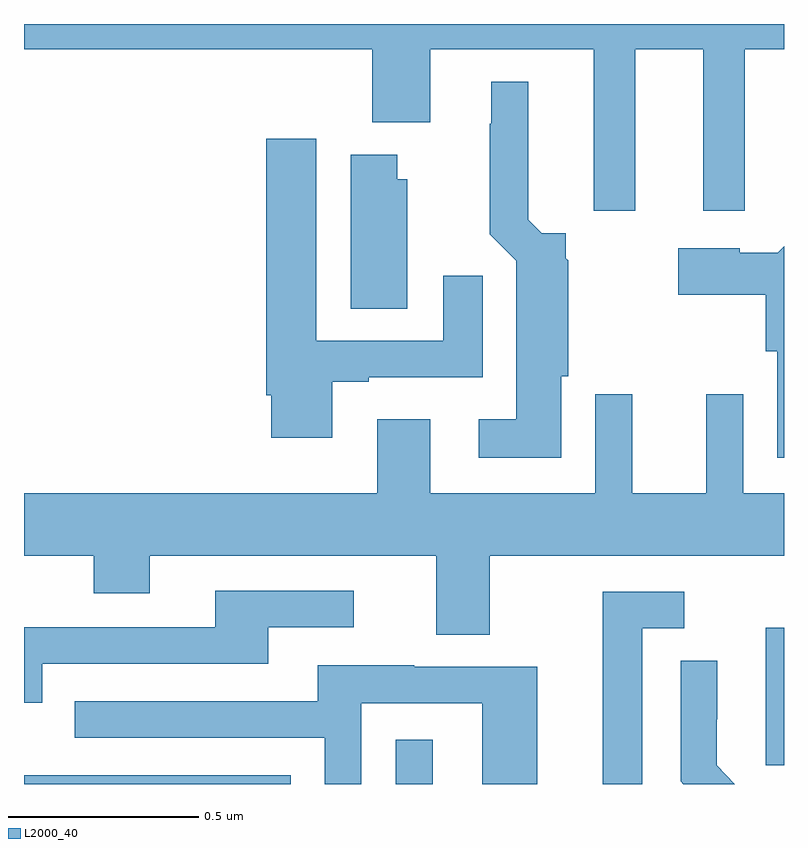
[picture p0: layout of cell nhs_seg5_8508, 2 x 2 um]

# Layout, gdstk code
import gdstk
lib = gdstk.Library(unit=1e-6, precision=1e-09)
def R(c, l, rs):  # rectangles x0, y0, x1, y1
    for r in rs: c.add(gdstk.rectangle(r[:2], r[2:], *l))
def P(c, l, *ps):  # polygons
    for p in ps: c.add(gdstk.Polygon(p, *l))
L2000_40 = (2000, 40)

nhs_seg5_8508 = lib.new_cell('nhs_seg5_8508')
R(nhs_seg5_8508, L2000_40, [(222,882.799,222.702,882.822), (222.978,882.799,223.075,882.916), (223.952,882.849,224,883.21)])
P(nhs_seg5_8508, L2000_40, [(222,884.732),(222.917,884.732),(222.917,884.54),(223.069,884.54),(223.069,884.732),(223.499,884.732),(223.499,884.307),(223.609,884.307),(223.609,884.732),(223.787,884.732),(223.787,884.307),(223.897,884.307),(223.897,884.732),(224,884.732),(224,884.799),(222,884.799)],
  [(223.414,883.872),(223.432,883.872),(223.432,884.177),(223.426,884.183),(223.426,884.248),(223.362,884.248),(223.327,884.284),(223.327,884.647),(223.229,884.647),(223.229,884.537),(223.225,884.537),(223.225,884.246),(223.295,884.176),(223.295,883.759),(223.197,883.759),(223.197,883.658),(223.414,883.658)],
  [(222.811,883.857),(222.907,883.857),(222.907,883.869),(223.207,883.869),(223.207,884.137),(223.103,884.137),(223.103,883.965),(222.769,883.965),(222.769,884.497),(222.638,884.497),(222.638,883.822),(222.65,883.822),(222.65,883.71),(222.811,883.71)],
  [(223.009,884.391),(222.982,884.391),(222.982,884.455),(222.86,884.455),(222.86,884.05),(223.009,884.05)],
  [(224,884.214),(223.983,884.197),(223.884,884.197),(223.884,884.209),(223.722,884.209),(223.722,884.087),(223.952,884.087),(223.952,883.938),(223.982,883.938),(223.982,883.658),(224,883.658)],
  [(223.225,883.4),(224,883.4),(224,883.564),(223.893,883.564),(223.893,883.825),(223.796,883.825),(223.796,883.564),(223.601,883.564),(223.601,883.825),(223.503,883.825),(223.503,883.564),(223.069,883.564),(223.069,883.759),(222.929,883.759),(222.929,883.564),(222,883.564),(222,883.4),(222.184,883.4),(222.184,883.301),(222.331,883.301),(222.331,883.4),(223.085,883.4),(223.085,883.192),(223.225,883.192)],
  [(222.048,883.116),(222.643,883.116),(222.643,883.212),(222.868,883.212),(222.868,883.308),(222.503,883.308),(222.503,883.212),(222,883.212),(222,883.013),(222.048,883.013)],
  [(223.627,883.209),(223.738,883.209),(223.738,883.305),(223.523,883.305),(223.523,882.799),(223.627,882.799)],
  [(223.823,882.848),(223.823,882.97),(223.824,882.97),(223.824,883.124),(223.728,883.124),(223.728,882.806),(223.735,882.799),(223.871,882.799)],
  [(222.888,883.011),(223.206,883.011),(223.206,882.799),(223.351,882.799),(223.351,883.107),(223.027,883.107),(223.027,883.111),(222.773,883.111),(222.773,883.017),(222.133,883.017),(222.133,882.921),(222.792,882.921),(222.792,882.799),(222.888,882.799)])

lib.write_gds('nhs_seg5_8508.gds')
